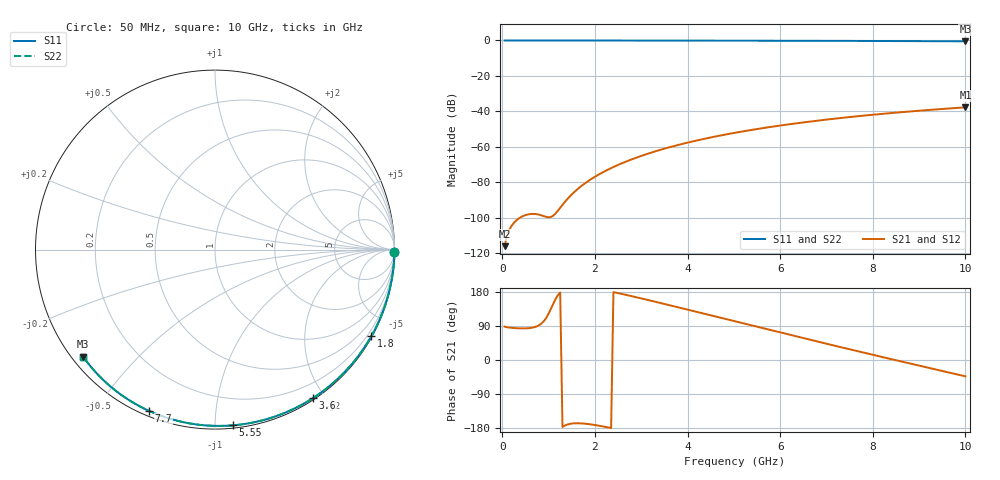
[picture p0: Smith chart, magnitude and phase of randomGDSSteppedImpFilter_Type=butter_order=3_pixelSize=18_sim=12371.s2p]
! freq	dB(S11)	phase(S11)	dB(S12)	phase(S12)
!  dB(S21)	phase(S21)	dB(S22)	phase(S22)
!S-par simulation data
#  GHz  S  DB  R 50
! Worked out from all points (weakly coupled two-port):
!   200 points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, 50 MHz to 10 GHz, reference 50 ohm
!   highest |S21| = -37.70 dB at 10 GHz (marker M1); lowest = -116.0 dB at 50 MHz (marker M2)
!   lowest |S11| = -0.5 dB at 10 GHz (marker M3), VSWR 36.40, Z = 1.55 - j17.7 ohm
!   |S11| at or under -10 dB: nowhere
!   |S22| runs from -0.5 to 0.0 dB; largest |S21 - S12| = 0
!   S11 on the Smith chart (normalised r, x): 50 MHz: open; 1.8 GHz: 0.03, -3.88; 3.6 GHz: 0.02, -1.86; 5.55 GHz: 0.02, -1.11; 7.7 GHz: 0.02, -0.67; 10 GHz: 0.03, -0.35
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0.05  -0.00 -0.8  -115.95 88.1  -115.95 88.1  -0.00 -0.8
0.45  -0.01 -7.3  -98.96 83.4  -98.96 83.4  -0.01 -7.3
0.9  -0.02 -14.6  -99.04 102.9  -99.04 102.9  -0.02 -14.6
1.3  -0.03 -21.0  -92.64 -176.7  -92.64 -176.7  -0.03 -21.0
1.75  -0.04 -28.1  -81.20 -167.6  -81.20 -167.6  -0.04 -28.1
1.8  -0.04 -28.9  -80.24 -168.2  -80.24 -168.2  -0.04 -28.9
1.85  -0.04 -29.7  -79.34 -168.9  -79.34 -168.9  -0.04 -29.7
2.05  -0.04 -32.9  -76.05 -172.5  -76.05 -172.5  -0.04 -32.9
2.2  -0.04 -35.2  -73.91 -175.9  -73.91 -175.9  -0.04 -35.2
2.55  -0.05 -40.6  -69.58 175.2  -69.58 175.2  -0.05 -40.6
2.95  -0.06 -46.7  -65.53 164.0  -65.53 164.0  -0.06 -46.7
3.4  -0.07 -53.5  -61.75 150.9  -61.75 150.9  -0.07 -53.5
3.6  -0.08 -56.5  -60.27 144.9  -60.27 144.9  -0.08 -56.5
4.3  -0.09 -66.7  -55.79 123.8  -55.79 123.8  -0.09 -66.7
5.05  -0.12 -77.3  -51.92 101.2  -51.92 101.2  -0.12 -77.3
5.55  -0.14 -84.2  -49.72 86.1  -49.72 86.1  -0.14 -84.2
6.1  -0.16 -91.6  -47.59 69.6  -47.59 69.6  -0.16 -91.6
6.7  -0.19 -99.5  -45.54 51.8  -45.54 51.8  -0.19 -99.5
7.7  -0.26 -112.4  -42.64 22.4  -42.64 22.4  -0.26 -112.4
8.35  -0.31 -120.5  -41.03 3.7  -41.03 3.7  -0.31 -120.5
9.2  -0.39 -131.1  -39.19 -20.5  -39.19 -20.5  -0.39 -131.1
10  -0.48 -141.0  -37.70 -43.0  -37.70 -43.0  -0.48 -141.0
